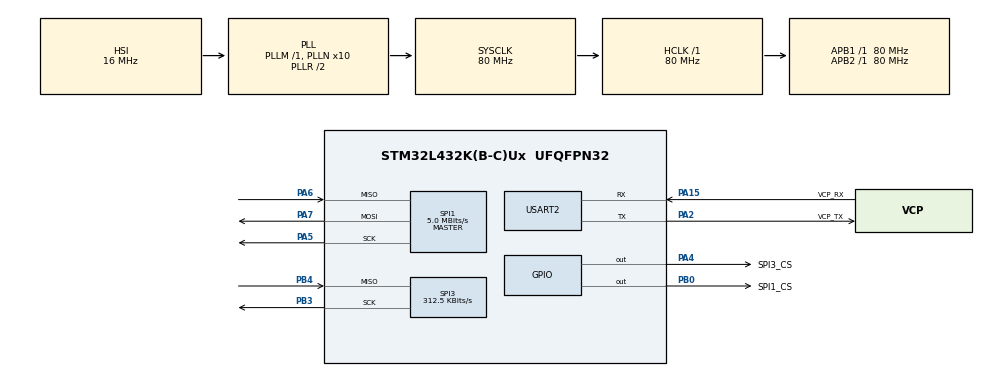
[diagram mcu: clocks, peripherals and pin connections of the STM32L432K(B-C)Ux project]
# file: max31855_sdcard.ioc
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Mcu.Family=STM32L4
Mcu.Name=STM32L432K(B-C)Ux
Mcu.Package=UFQFPN32
NVIC.PriorityGroup=NVIC_PRIORITYGROUP_4
PA0.GPIO_Label=MCO [High speed clock in]
PA0.Mode=HSE-External-Clock-Source-for-LittleOrca
PA0.Signal=RCC_CK_IN
PA13\ (JTMS-SWDIO).GPIO_Label=SWDIO
PA13\ (JTMS-SWDIO).Mode=Serial_Wire
PA13\ (JTMS-SWDIO).Signal=SYS_JTMS-SWDIO
PA14\ (JTCK-SWCLK).GPIO_Label=SWCLK
PA14\ (JTCK-SWCLK).Mode=Serial_Wire
PA14\ (JTCK-SWCLK).Signal=SYS_JTCK-SWCLK
PA15\ (JTDI).GPIO_Label=VCP_RX
PA15\ (JTDI).Mode=Asynchronous
PA15\ (JTDI).Signal=USART2_RX
PA2.GPIO_Label=VCP_TX
PA2.Mode=Asynchronous
PA2.Signal=USART2_TX
PA4.GPIO_Label=SPI3_CS
PA4.GPIO_PuPd=GPIO_PULLUP
PA4.PinState=GPIO_PIN_SET
PA4.Signal=GPIO_Output
PA5.Mode=Full_Duplex_Master
PA5.Signal=SPI1_SCK
PA6.Mode=Full_Duplex_Master
PA6.Signal=SPI1_MISO
PA7.Mode=Full_Duplex_Master
PA7.Signal=SPI1_MOSI
PB0.GPIO_Label=SPI1_CS
PB0.GPIO_ModeDefaultOutputPP=GPIO_MODE_OUTPUT_PP
PB0.GPIO_PuPd=GPIO_PULLUP
PB0.PinState=GPIO_PIN_SET
PB0.Signal=GPIO_Output
PB3\ (JTDO-TRACESWO).Mode=RX_Only_Simplex_Unidirect_Master
PB3\ (JTDO-TRACESWO).Signal=SPI3_SCK
PB4\ (NJTRST).Mode=RX_Only_Simplex_Unidirect_Master
PB4\ (NJTRST).Signal=SPI3_MISO
PC14-OSC32_IN\ (PC14).Mode=LSE-External-Oscillator
PC14-OSC32_IN\ (PC14).Signal=RCC_OSC32_IN
PC15-OSC32_OUT\ (PC15).Mode=LSE-External-Oscillator
PC15-OSC32_OUT\ (PC15).Signal=RCC_OSC32_OUT
ProjectManager.HeapSize=0x200
ProjectManager.StackSize=0x400
ProjectManager.TargetToolchain=STM32CubeIDE
RCC.ADCFreq_Value=64000000
RCC.AHBFreq_Value=80000000
RCC.APB1Freq_Value=80000000
RCC.APB1TimFreq_Value=80000000
RCC.APB2Freq_Value=80000000
RCC.APB2TimFreq_Value=80000000
RCC.CortexFreq_Value=80000000
RCC.HCLKFreq_Value=80000000
RCC.HSE_VALUE=8000000
RCC.HSI16_VALUE=16000000
RCC.HSI48_VALUE=48000000
RCC.HSI_VALUE=16000000
RCC.MSI_VALUE=4000000
RCC.PLLMUL=RCC_PLLMUL_4
RCC.PLLN=10
RCC.PLLSourceVirtual=RCC_PLLSOURCE_HSI
RCC.SYSCLKFreq_VALUE=80000000
RCC.SYSCLKSource=RCC_SYSCLKSOURCE_PLLCLK
RCC.USBFreq_Value=64000000
RCC.VCOOutputFreq_Value=160000000
SPI1.BaudRatePrescaler=SPI_BAUDRATEPRESCALER_16
SPI1.CalculateBaudRate=5.0 MBits/s
SPI1.DataSize=SPI_DATASIZE_8BIT
SPI1.Direction=SPI_DIRECTION_2LINES
SPI1.Mode=SPI_MODE_MASTER
SPI1.VirtualType=VM_MASTER
SPI3.BaudRatePrescaler=SPI_BAUDRATEPRESCALER_256
SPI3.CalculateBaudRate=312.5 KBits/s
SPI3.DataSize=SPI_DATASIZE_8BIT
SPI3.Direction=SPI_DIRECTION_2LINES_RXONLY
SPI3.Mode=SPI_MODE_MASTER
SPI3.NSSPMode=SPI_NSS_PULSE_DISABLE
SPI3.TIMode=SPI_TIMODE_DISABLE
SPI3.VirtualType=VM_MASTER
USART2.VirtualMode-Asynchronous=VM_ASYNC
board=NUCLEO-L432KC

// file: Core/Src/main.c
/* USER CODE BEGIN Header */
/**
  ******************************************************************************
  * @file           : main.c
  * @brief          : Main program body
  ******************************************************************************
  * @attention
  *
  * Copyright (c) 2022 STMicroelectronics.
  * All rights reserved.
  *
  * This software is licensed under terms that can be found in the LICENSE file
  * in the root directory of this software component.
  * If no LICENSE file comes with this software, it is provided AS-IS.
  *
  ******************************************************************************
  */
/* USER CODE END Header */
#include "main.h"
#include "spi.h"
#include "usart.h"
#include "gpio.h"

/* USER CODE BEGIN Includes */

#include <stdint.h>
#include <stdio.h>
#include <string.h>
#include "max31855.h"

#include "fatfs.h"

/* USER CODE END Includes */

void SystemClock_Config(void);

/* USER CODE BEGIN 0 */

char line[80] = {0};
void print_uint32(uint32_t val, const char * fmt) {
    snprintf(&line[0], sizeof(line) / sizeof(line[0]), "%s%lu\n", fmt, val);
    HAL_UART_Transmit(&huart2, (uint8_t*)&line[0], strlen(line), HAL_MAX_DELAY);
}

uint8_t buffer[256] = {0};

/* USER CODE END 0 */

int main(void)
{

  /* MCU Configuration--------------------------------------------------------*/

  /* Reset of all peripherals, Initializes the Flash interface and the Systick. */
  HAL_Init();

  /* Configure the system clock */
  SystemClock_Config();

  /* Initialize all configured peripherals */
  MX_GPIO_Init();
  MX_USART2_UART_Init();
  MX_SPI3_Init();
  MX_SPI1_Init();
  /* USER CODE BEGIN 2 */

    MX_FATFS_Init();

    FRESULT fres;
    FATFS fs = {0};
    FIL f = {0};
    FIL flog = {0};
    FILINFO fi = {0};

    print_uint32(0, "starting sdcard ...");
    HAL_Delay(500);

    /*
    fres = f_mount(&fs, "", 1);  // [3]:1 => mount now
    if(fres == FR_NO_FILESYSTEM) {
        print_uint32(fres, "FRESULT f_mount => FR_NO_FILESYSTEM");
        fres = f_mkfs("", FM_ANY, 0, &buffer[0], sizeof(buffer));
        if(fres != FR_OK) {
            print_uint32(fres, "FRESULT f_mkfs failed with => ");
        } else {
            fres = f_stat("data.txt", &fi);
            if(fres != FR_OK) {
                print_uint32(fres, "FRESULT f_stat failed with => ");
            } else {
                fres = f_open(&f, "data.txt", FA_READ);
                if(fres != FR_OK) {
                    print_uint32(fres, "FRESULT f_open failed with => ");
                } else {
                    char line[64];
                    uint8_t cnt = 0;
                    while(f_gets(&line[0], sizeof(line), &f)) {
                        print_uint32(cnt, "f_gets line => ");
                        HAL_Delay(100);
                        cnt += 1;
                    }
                }
            }
        }
    } else {
        fres = f_open(&f, "sensor.dat", FA_CREATE_ALWAYS);
        if(fres != FR_OK) {
            print_uint32(fres, "FRESULT f_open failed with => ");
        } else {
            print_uint32(fres, "FRESULT f_open succeeded ... ");
            char line[64] = "sensor data";
            fres = f_puts(&line[0], &f);
            fres = f_close(&f);
            if(fres != FR_OK) {
                print_uint32(fres, "FRESULT f_close failed with => ");
            } else {
                print_uint32(fres, "FRESULT f_close succeeded ... ");
            }
        }
    }

    fres = f_mount(&fs, "", 1);
    if(fres == FR_OK) {
        fres = f_open(&f, "foo.txt", FA_READ);
        if(fres != FR_OK) {
            print_uint32(fres, "FRESULT f_open failed with => ");
        } else {
            print_uint32(fres, "FRESULT f_open succeeded ... ");
            char line[64] = {0};
            uint8_t cnt = 0;
            while(f_gets(&line[0], sizeof(line), &f)) {
                cnt += 1;
                print_uint32(cnt, "f_gets line => ");
                HAL_Delay(100);
            }
            fres = f_close(&f);
            if(fres != FR_OK) {
                print_uint32(fres, "FRESULT f_close failed with => ");
            } else {
                print_uint32(fres, "FRESULT f_close succeeded ... ");
            }
        }
    } else {
        print_uint32(fres, "FRESULT f_mount failed with => ");
    }
    */

    uint8_t fs_mounted = 0;
    uint8_t try_mount_cnt = 0;
    uint8_t fs_made = 0;

try_mount:
    fres = f_mount(&fs, "", 1 /* mount now */);
    if(fres == FR_NO_FILESYSTEM) {
        print_uint32(fres, "FRESULT f_mount => FR_NO_FILESYSTEM");
        fres = f_mkfs("", FM_ANY, 0, &buffer[0], sizeof(buffer));
        if(fres != FR_OK) {
            print_uint32(fres, "FRESULT f_mkfs failed with => ");
            fs_made = 0;
            fs_mounted = 0;
        } else {
            // file system was created
            fs_made = 1;
            f_mount(NULL, "", 1); 	// unmount and mount it
            try_mount_cnt += 1;
            if(try_mount_cnt <= 3) {
                goto try_mount;
            }
        }
    } else {
        fs_mounted = 1;
    }

    uint8_t log = 0;
    if(fs_mounted == 1) {
        fres = f_stat("init.txt", &fi);
        if(fres != FR_OK) {
            print_uint32(fres, "FRESULT f_stat(init.txt) failed with => ");
        } else {
            fres = f_open(&f, "init.txt", FA_READ);
            if(fres != FR_OK) {
                print_uint32(fres, "FRESULT f_open(init.txt,FA_READ) failed with => ");
            } else {
            }
        }

        fres = f_open(&flog, "data.txt", FA_CREATE_ALWAYS | FA_WRITE);
        if(fres != FR_OK) {
            print_uint32(fres, "FRESULT f_open(data.txt, FA_WRITE) failed with => ");
        } else {
            log = 1;
        }
    }

    print_uint32(fs_made, "fs_made = ");
    print_uint32(fs_mounted, "fs_mounted = ");
    print_uint32(0, "starting while(1) ...");

  /* USER CODE END 2 */

  /* Infinite loop */
  /* USER CODE BEGIN WHILE */
    char msg[80] = {0};
    uint32_t cnt = 0;
    float temp = 0.0f;
    while (1) {
        HAL_Delay(250);

        cnt += 1;
        temp = max31855_read_temp();
        snprintf(&msg[0], sizeof(msg) / sizeof(msg[0]), "counter = %04lu, temp = %.2f\n", cnt, temp);
        HAL_UART_Transmit(&huart2, (uint8_t*)&msg[0], strlen(msg), HAL_MAX_DELAY);
    /* USER CODE END WHILE */

    /* USER CODE BEGIN 3 */

        if(log == 1) {
        	int res = 0;
            res = f_puts(&msg[0], &flog);
            f_sync(&flog);
        	//res = f_printf(&flog, "%10s", &msg[0]);
            if(res < 0) {
                print_uint32(res, "fputs failed with => ");
            } else {
                print_uint32(res, "fputs succeded with => ");
            }

        	/*
        	UINT written = 0;
        	fres = f_write(&flog, &msg[0], 1, &written)
            if(fres != FR_OK) {
                print_uint32(fres, "fputs failed with => ");
            } else {
                print_uint32(fres, "fputs succeded with => ");
            }
            */
        }

    }
  /* USER CODE END 3 */
}

void SystemClock_Config(void)
{
  RCC_OscInitTypeDef RCC_OscInitStruct = {0};
  RCC_ClkInitTypeDef RCC_ClkInitStruct = {0};

  /** Configure the main internal regulator output voltage
  */
  if (HAL_PWREx_ControlVoltageScaling(PWR_REGULATOR_VOLTAGE_SCALE1) != HAL_OK)
  {
    Error_Handler();
  }

  /** Initializes the RCC Oscillators according to the specified parameters
  * in the RCC_OscInitTypeDef structure.
  */
  RCC_OscInitStruct.OscillatorType = RCC_OSCILLATORTYPE_HSI;
  RCC_OscInitStruct.HSIState = RCC_HSI_ON;
  RCC_OscInitStruct.HSICalibrationValue = RCC_HSICALIBRATION_DEFAULT;
  RCC_OscInitStruct.PLL.PLLState = RCC_PLL_ON;
  RCC_OscInitStruct.PLL.PLLSource = RCC_PLLSOURCE_HSI;
  RCC_OscInitStruct.PLL.PLLM = 1;
  RCC_OscInitStruct.PLL.PLLN = 10;
  RCC_OscInitStruct.PLL.PLLP = RCC_PLLP_DIV7;
  RCC_OscInitStruct.PLL.PLLQ = RCC_PLLQ_DIV2;
  RCC_OscInitStruct.PLL.PLLR = RCC_PLLR_DIV2;
  if (HAL_RCC_OscConfig(&RCC_OscInitStruct) != HAL_OK)
  {
    Error_Handler();
  }

  /** Initializes the CPU, AHB and APB buses clocks
  */
  RCC_ClkInitStruct.ClockType = RCC_CLOCKTYPE_HCLK|RCC_CLOCKTYPE_SYSCLK
                              |RCC_CLOCKTYPE_PCLK1|RCC_CLOCKTYPE_PCLK2;
  RCC_ClkInitStruct.SYSCLKSource = RCC_SYSCLKSOURCE_PLLCLK;
  RCC_ClkInitStruct.AHBCLKDivider = RCC_SYSCLK_DIV1;
  RCC_ClkInitStruct.APB1CLKDivider = RCC_HCLK_DIV1;
  RCC_ClkInitStruct.APB2CLKDivider = RCC_HCLK_DIV1;

  if (HAL_RCC_ClockConfig(&RCC_ClkInitStruct, FLASH_LATENCY_4) != HAL_OK)
  {
    Error_Handler();
  }
}

void Error_Handler(void)
{
    __disable_irq();
    while (1) {
    }
}
